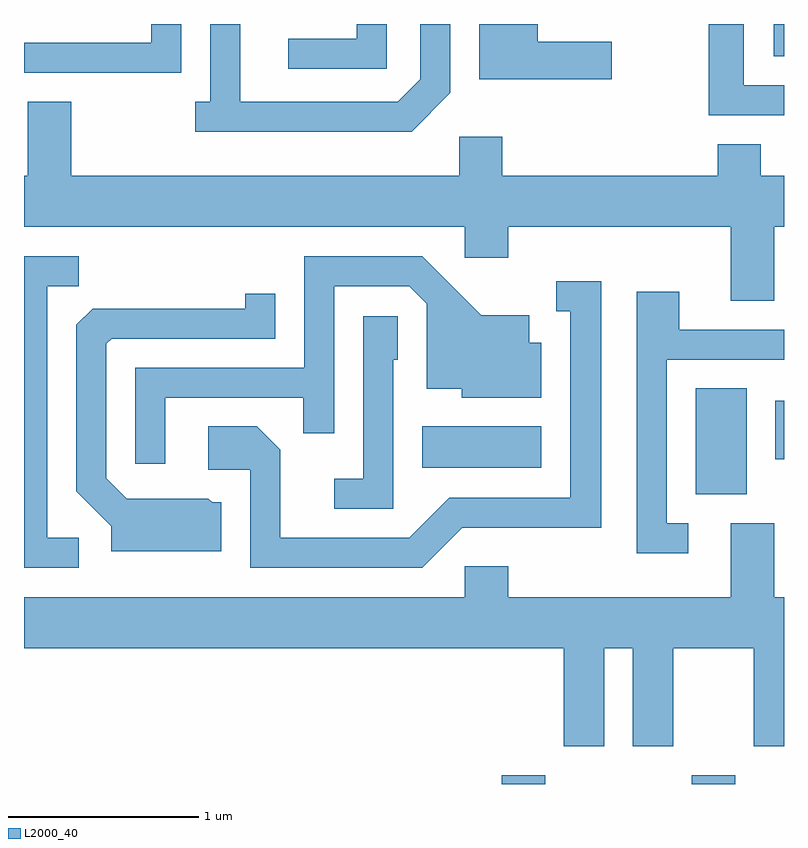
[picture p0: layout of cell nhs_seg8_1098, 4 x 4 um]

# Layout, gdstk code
import gdstk
lib = gdstk.Library(unit=1e-6, precision=1e-09)
def R(c, l, rs):  # rectangles x0, y0, x1, y1
    for r in rs: c.add(gdstk.rectangle(r[:2], r[2:], *l))
def P(c, l, *ps):  # polygons
    for p in ps: c.add(gdstk.Polygon(p, *l))
L2000_40 = (2000, 40)

nhs_seg8_1098 = lib.new_cell('nhs_seg8_1098')
R(nhs_seg8_1098, L2000_40, [(220.126,1862.342,220.354,1862.389), (221.126,1862.342,221.354,1862.389), (221.146,1863.866,221.414,1864.424), (219.706,1864.006,220.334,1864.224), (221.566,1864.051,221.611,1864.359), (221.556,1866.171,221.611,1866.342)])
P(nhs_seg8_1098, L2000_40, [(220.704,1866.249),(220.314,1866.249),(220.314,1866.342),(220.006,1866.342),(220.006,1866.051),(220.704,1866.051)],
  [(218.439,1866.342),(218.281,1866.342),(218.281,1866.244),(217.611,1866.244),(217.611,1866.086),(218.439,1866.086)],
  [(221.611,1866.019),(221.399,1866.019),(221.399,1866.342),(221.216,1866.342),(221.216,1865.861),(221.611,1865.861)],
  [(219.519,1866.342),(219.361,1866.342),(219.361,1866.264),(219.003,1866.264),(219.003,1866.106),(219.519,1866.106)],
  [(219.854,1865.979),(219.854,1866.342),(219.696,1866.342),(219.696,1866.052),(219.579,1865.934),(218.749,1865.934),(218.749,1866.342),(218.591,1866.342),(218.591,1865.934),(218.513,1865.934),(218.513,1865.776),(219.652,1865.776)],
  [(221.559,1865.276),(221.611,1865.276),(221.611,1865.544),(221.489,1865.544),(221.489,1865.709),(221.261,1865.709),(221.261,1865.544),(220.129,1865.544),(220.129,1865.749),(219.901,1865.749),(219.901,1865.544),(217.859,1865.544),(217.859,1865.934),(217.631,1865.934),(217.631,1865.544),(217.611,1865.544),(217.611,1865.276),(219.931,1865.276),(219.931,1865.111),(220.159,1865.111),(220.159,1865.276),(221.331,1865.276),(221.331,1864.886),(221.559,1864.886)],
  [(218.354,1864.376),(219.081,1864.376),(219.081,1864.188),(219.244,1864.188),(219.244,1864.961),(219.639,1864.961),(219.731,1864.869),(219.731,1864.421),(219.916,1864.421),(219.916,1864.376),(220.334,1864.376),(220.334,1864.664),(220.269,1864.664),(220.269,1864.809),(220.017,1864.809),(219.707,1865.119),(219.086,1865.119),(219.086,1864.534),(218.196,1864.534),(218.196,1864.028),(218.354,1864.028)],
  [(217.898,1863.639),(217.734,1863.639),(217.734,1864.961),(217.898,1864.961),(217.898,1865.119),(217.611,1865.119),(217.611,1863.481),(217.898,1863.481)],
  [(219.917,1863.691),(220.649,1863.691),(220.649,1864.989),(220.413,1864.989),(220.413,1864.831),(220.486,1864.831),(220.486,1863.849),(219.849,1863.849),(219.639,1863.639),(218.959,1863.639),(218.959,1864.102),(218.837,1864.224),(218.581,1864.224),(218.581,1863.996),(218.801,1863.996),(218.801,1863.481),(219.707,1863.481)],
  [(221.108,1863.714),(220.994,1863.714),(220.994,1864.576),(221.611,1864.576),(221.611,1864.734),(221.059,1864.734),(221.059,1864.934),(220.836,1864.934),(220.836,1863.556),(221.108,1863.556)],
  [(218.649,1863.824),(218.602,1863.824),(218.582,1863.844),(218.152,1863.844),(218.044,1863.952),(218.044,1864.659),(218.072,1864.686),(218.934,1864.686),(218.934,1864.923),(218.776,1864.923),(218.776,1864.844),(217.972,1864.844),(217.886,1864.759),(217.886,1863.884),(218.071,1863.699),(218.071,1863.566),(218.649,1863.566)],
  [(219.554,1864.576),(219.579,1864.576),(219.579,1864.804),(219.396,1864.804),(219.396,1863.949),(219.243,1863.949),(219.243,1863.791),(219.554,1863.791)],
  [(220.664,1863.056),(220.816,1863.056),(220.816,1862.541),(221.029,1862.541),(221.029,1863.056),(221.451,1863.056),(221.451,1862.541),(221.611,1862.541),(221.611,1863.324),(221.559,1863.324),(221.559,1863.714),(221.331,1863.714),(221.331,1863.324),(220.159,1863.324),(220.159,1863.489),(219.931,1863.489),(219.931,1863.324),(217.611,1863.324),(217.611,1863.056),(220.451,1863.056),(220.451,1862.541),(220.664,1862.541)])

lib.write_gds('nhs_seg8_1098.gds')
